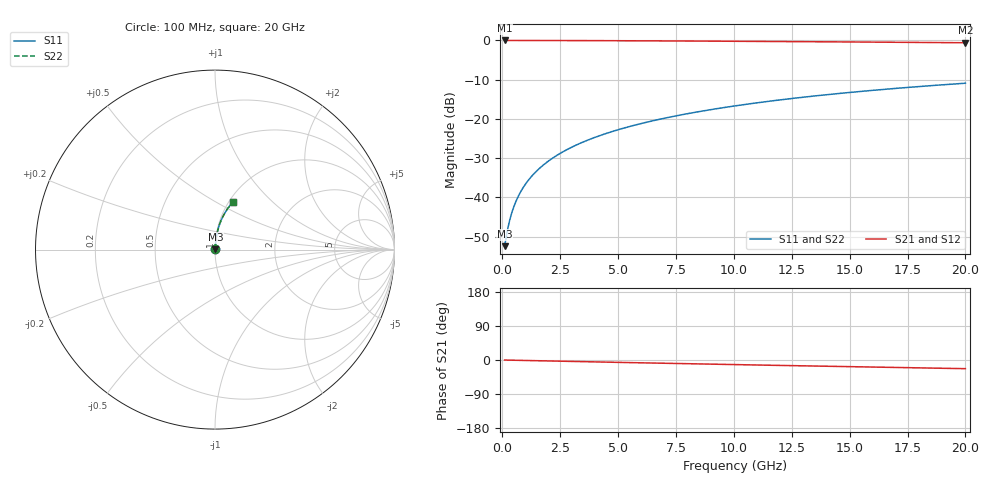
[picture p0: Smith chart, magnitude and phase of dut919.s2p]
! Touchstone file exported from HFSS 2024.1.0
!  File:  C:/UserFiles/LocalFiles/RDL_TSV_Batchsim/temp_RDL_top_919_1779936428.aedt
!  Generated:  10:50:22 AM May 28, 2026
!  Design:  RDL_top
!  Project:  temp_RDL_top_919_1779936428
!  Setup:  Setup1
!  Solution:  Sweep
! Variables:
!  dtsv = 10.80580581um
!  hbump = 3um
!  htsv = 76.9um
!  ldown = 100um
!  lrdl = 263.44um
!  p = 40
!  p1 = 48.92um
!  rhole = 1um
!  t = 450um
!  tdown = 3.915915916um
!  trdl = 4.16um
!  wdown = 15.38538539um
!  wrdl = 12.83um
# GHz S MA R 50.000000
! Terminal data exported
! Port[1] = Box2_T1
! Port[2] = Box2_T2
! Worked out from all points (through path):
!   200 points, 100 MHz to 20 GHz, reference 50 ohm
!   highest |S21| = -0.02 dB at 100 MHz (marker M1); lowest = -0.6 dB at 20 GHz (marker M2)
!   group delay of S21, straight-line fit = 3.16 ps
!   lowest |S11| = -52.4 dB at 100 MHz (marker M3), VSWR 1.00, Z = 50.2 + j0.151 ohm
!   |S11| at or under -10 dB: start of sweep to end of sweep
!   |S22| runs from -52.4 to -10.9 dB; largest |S21 - S12| = 2.7e-15
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0.1  0.0024 38.9  0.9981 -0.1  0.9981 -0.1  0.0024 38.9
! Gamma 0 0 0 0
! Port Impedance 50 0 50 0
0.2  0.003553 57.5  0.9981 -0.3  0.9981 -0.3  0.003553 57.5
0.3  0.00488 66.4  0.998 -0.4  0.998 -0.4  0.00488 66.4
0.4  0.006258 71.3  0.998 -0.5  0.998 -0.5  0.006258 71.3
0.5  0.007657 74.4  0.9979 -0.6  0.9979 -0.6  0.007657 74.4
0.6  0.009069 76.6  0.9979 -0.8  0.9979 -0.8  0.009069 76.6
0.8  0.01191 79.4  0.9977 -1.0  0.9977 -1.0  0.01191 79.4
1.1  0.01621 81.7  0.9975 -1.4  0.9975 -1.4  0.01621 81.7
1.5  0.02198 83.2  0.9972 -1.9  0.9972 -1.9  0.02198 83.2
1.8  0.02632 83.8  0.9969 -2.3  0.9969 -2.3  0.02632 83.8
2.1  0.03066 84.1  0.9965 -2.7  0.9965 -2.7  0.03066 84.1
2.7  0.03936 84.5  0.9956 -3.4  0.9956 -3.4  0.03936 84.5
3.5  0.05099 84.4  0.9942 -4.4  0.9942 -4.4  0.05099 84.4
4.2  0.06117 84.2  0.9927 -5.3  0.9927 -5.3  0.06117 84.2
5  0.07284 83.7  0.9908 -6.2  0.9908 -6.2  0.07284 83.7
5.9  0.08598 83.1  0.9884 -7.3  0.9884 -7.3  0.08598 83.1
6.8  0.09914 82.4  0.9857 -8.4  0.9857 -8.4  0.09914 82.4
8.3  0.1211 81.1  0.9809 -10.2  0.9809 -10.2  0.1211 81.1
10.1  0.1473 79.5  0.9746 -12.2  0.9746 -12.2  0.1473 79.5
13.4  0.1949 76.1  0.962 -15.9  0.962 -15.9  0.1949 76.1
16.7  0.2409 72.7  0.9481 -19.4  0.9481 -19.4  0.2409 72.7
20  0.285 69.2  0.9332 -22.9  0.9332 -22.9  0.285 69.2
